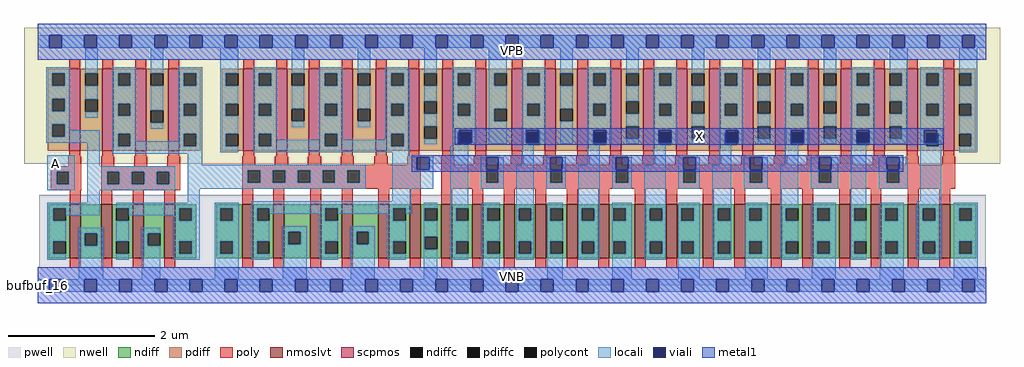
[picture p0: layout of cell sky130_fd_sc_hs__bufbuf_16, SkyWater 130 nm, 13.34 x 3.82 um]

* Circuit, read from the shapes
.subckt sky130_fd_sc_hs__bufbuf_16 A VGND VNB VPB VPWR X
XM1 VGND A n1 VNB sky130_fd_pr__nfet_01v8_lvt w=0.74 l=0.15
XM2 n2 n1 VGND VNB sky130_fd_pr__nfet_01v8_lvt w=0.74 l=0.15 m=3
XM3 n3 n2 VGND VNB sky130_fd_pr__nfet_01v8_lvt w=0.74 l=0.15 m=6
XM4 X n3 VGND VNB sky130_fd_pr__nfet_01v8_lvt w=0.74 l=0.15 m=16
XM5 VPWR A n1 VPB sky130_fd_pr__pfet_01v8 w=1.12 l=0.15
XM6 n2 n1 VPWR VPB sky130_fd_pr__pfet_01v8 w=1.12 l=0.15 m=3
XM7 n3 n2 VPWR VPB sky130_fd_pr__pfet_01v8 w=1.12 l=0.15 m=6
XM8 X n3 VPWR VPB sky130_fd_pr__pfet_01v8 w=1.12 l=0.15 m=16
.ends

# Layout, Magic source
magic
tech sky130A
magscale 1 2
<< nwell >>
rect -38 332 2630 704
<< pwell >>
rect 4 49 2591 248
rect 0 0 2592 49
<< scpmos >>
rect 86 368 116 592
rect 176 368 206 592
rect 266 368 296 592
rect 356 368 386 592
rect 561 368 591 592
rect 651 368 681 592
rect 741 368 771 592
rect 831 368 861 592
rect 923 368 953 592
rect 1013 368 1043 592
rect 1105 368 1135 592
rect 1195 368 1225 592
rect 1295 368 1325 592
rect 1385 368 1415 592
rect 1475 368 1505 592
rect 1565 368 1595 592
rect 1655 368 1685 592
rect 1745 368 1775 592
rect 1835 368 1865 592
rect 1925 368 1955 592
rect 2015 368 2045 592
rect 2105 368 2135 592
rect 2195 368 2225 592
rect 2285 368 2315 592
rect 2375 368 2405 592
rect 2475 368 2505 592
<< nmoslvt >>
rect 87 74 117 222
rect 173 74 203 222
rect 259 74 289 222
rect 346 74 376 222
rect 558 74 588 222
rect 644 74 674 222
rect 744 74 774 222
rect 830 74 860 222
rect 930 74 960 222
rect 1016 74 1046 222
rect 1102 74 1132 222
rect 1188 74 1218 222
rect 1274 74 1304 222
rect 1360 74 1390 222
rect 1446 74 1476 222
rect 1532 74 1562 222
rect 1632 74 1662 222
rect 1718 74 1748 222
rect 1818 74 1848 222
rect 1904 74 1934 222
rect 2004 74 2034 222
rect 2090 74 2120 222
rect 2190 74 2220 222
rect 2276 74 2306 222
rect 2378 74 2408 222
rect 2464 74 2494 222
<< ndiff >>
rect 30 210 87 222
rect 30 176 42 210
rect 76 176 87 210
rect 30 120 87 176
rect 30 86 42 120
rect 76 86 87 120
rect 30 74 87 86
rect 117 142 173 222
rect 117 108 128 142
rect 162 108 173 142
rect 117 74 173 108
rect 203 210 259 222
rect 203 176 214 210
rect 248 176 259 210
rect 203 120 259 176
rect 203 86 214 120
rect 248 86 259 120
rect 203 74 259 86
rect 289 142 346 222
rect 289 108 300 142
rect 334 108 346 142
rect 289 74 346 108
rect 376 210 433 222
rect 376 176 387 210
rect 421 176 433 210
rect 376 120 433 176
rect 376 86 387 120
rect 421 86 433 120
rect 376 74 433 86
rect 487 210 558 222
rect 487 176 499 210
rect 533 176 558 210
rect 487 120 558 176
rect 487 86 499 120
rect 533 86 558 120
rect 487 74 558 86
rect 588 210 644 222
rect 588 176 599 210
rect 633 176 644 210
rect 588 120 644 176
rect 588 86 599 120
rect 633 86 644 120
rect 588 74 644 86
rect 674 146 744 222
rect 674 112 685 146
rect 719 112 744 146
rect 674 74 744 112
rect 774 210 830 222
rect 774 176 785 210
rect 819 176 830 210
rect 774 120 830 176
rect 774 86 785 120
rect 819 86 830 120
rect 774 74 830 86
rect 860 146 930 222
rect 860 112 871 146
rect 905 112 930 146
rect 860 74 930 112
rect 960 210 1016 222
rect 960 176 971 210
rect 1005 176 1016 210
rect 960 120 1016 176
rect 960 86 971 120
rect 1005 86 1016 120
rect 960 74 1016 86
rect 1046 210 1102 222
rect 1046 176 1057 210
rect 1091 176 1102 210
rect 1046 133 1102 176
rect 1046 99 1057 133
rect 1091 99 1102 133
rect 1046 74 1102 99
rect 1132 210 1188 222
rect 1132 176 1143 210
rect 1177 176 1188 210
rect 1132 120 1188 176
rect 1132 86 1143 120
rect 1177 86 1188 120
rect 1132 74 1188 86
rect 1218 210 1274 222
rect 1218 176 1229 210
rect 1263 176 1274 210
rect 1218 120 1274 176
rect 1218 86 1229 120
rect 1263 86 1274 120
rect 1218 74 1274 86
rect 1304 210 1360 222
rect 1304 176 1315 210
rect 1349 176 1360 210
rect 1304 120 1360 176
rect 1304 86 1315 120
rect 1349 86 1360 120
rect 1304 74 1360 86
rect 1390 210 1446 222
rect 1390 176 1401 210
rect 1435 176 1446 210
rect 1390 120 1446 176
rect 1390 86 1401 120
rect 1435 86 1446 120
rect 1390 74 1446 86
rect 1476 210 1532 222
rect 1476 176 1487 210
rect 1521 176 1532 210
rect 1476 120 1532 176
rect 1476 86 1487 120
rect 1521 86 1532 120
rect 1476 74 1532 86
rect 1562 210 1632 222
rect 1562 176 1573 210
rect 1607 176 1632 210
rect 1562 120 1632 176
rect 1562 86 1573 120
rect 1607 86 1632 120
rect 1562 74 1632 86
rect 1662 210 1718 222
rect 1662 176 1673 210
rect 1707 176 1718 210
rect 1662 120 1718 176
rect 1662 86 1673 120
rect 1707 86 1718 120
rect 1662 74 1718 86
rect 1748 210 1818 222
rect 1748 176 1759 210
rect 1793 176 1818 210
rect 1748 120 1818 176
rect 1748 86 1759 120
rect 1793 86 1818 120
rect 1748 74 1818 86
rect 1848 210 1904 222
rect 1848 176 1859 210
rect 1893 176 1904 210
rect 1848 120 1904 176
rect 1848 86 1859 120
rect 1893 86 1904 120
rect 1848 74 1904 86
rect 1934 210 2004 222
rect 1934 176 1945 210
rect 1979 176 2004 210
rect 1934 120 2004 176
rect 1934 86 1945 120
rect 1979 86 2004 120
rect 1934 74 2004 86
rect 2034 210 2090 222
rect 2034 176 2045 210
rect 2079 176 2090 210
rect 2034 120 2090 176
rect 2034 86 2045 120
rect 2079 86 2090 120
rect 2034 74 2090 86
rect 2120 210 2190 222
rect 2120 176 2131 210
rect 2165 176 2190 210
rect 2120 120 2190 176
rect 2120 86 2131 120
rect 2165 86 2190 120
rect 2120 74 2190 86
rect 2220 210 2276 222
rect 2220 176 2231 210
rect 2265 176 2276 210
rect 2220 120 2276 176
rect 2220 86 2231 120
rect 2265 86 2276 120
rect 2220 74 2276 86
rect 2306 210 2378 222
rect 2306 176 2317 210
rect 2351 176 2378 210
rect 2306 120 2378 176
rect 2306 86 2317 120
rect 2351 86 2378 120
rect 2306 74 2378 86
rect 2408 210 2464 222
rect 2408 176 2419 210
rect 2453 176 2464 210
rect 2408 120 2464 176
rect 2408 86 2419 120
rect 2453 86 2464 120
rect 2408 74 2464 86
rect 2494 210 2565 222
rect 2494 176 2519 210
rect 2553 176 2565 210
rect 2494 120 2565 176
rect 2494 86 2519 120
rect 2553 86 2565 120
rect 2494 74 2565 86
<< pdiff >>
rect 27 580 86 592
rect 27 546 39 580
rect 73 546 86 580
rect 27 510 86 546
rect 27 476 39 510
rect 73 476 86 510
rect 27 440 86 476
rect 27 406 39 440
rect 73 406 86 440
rect 27 368 86 406
rect 116 580 176 592
rect 116 546 129 580
rect 163 546 176 580
rect 116 508 176 546
rect 116 474 129 508
rect 163 474 176 508
rect 116 368 176 474
rect 206 580 266 592
rect 206 546 219 580
rect 253 546 266 580
rect 206 497 266 546
rect 206 463 219 497
rect 253 463 266 497
rect 206 414 266 463
rect 206 380 219 414
rect 253 380 266 414
rect 206 368 266 380
rect 296 580 356 592
rect 296 546 309 580
rect 343 546 356 580
rect 296 478 356 546
rect 296 444 309 478
rect 343 444 356 478
rect 296 368 356 444
rect 386 580 445 592
rect 386 546 399 580
rect 433 546 445 580
rect 386 497 445 546
rect 386 463 399 497
rect 433 463 445 497
rect 386 414 445 463
rect 386 380 399 414
rect 433 380 445 414
rect 386 368 445 380
rect 502 580 561 592
rect 502 546 514 580
rect 548 546 561 580
rect 502 497 561 546
rect 502 463 514 497
rect 548 463 561 497
rect 502 414 561 463
rect 502 380 514 414
rect 548 380 561 414
rect 502 368 561 380
rect 591 580 651 592
rect 591 546 604 580
rect 638 546 651 580
rect 591 497 651 546
rect 591 463 604 497
rect 638 463 651 497
rect 591 414 651 463
rect 591 380 604 414
rect 638 380 651 414
rect 591 368 651 380
rect 681 580 741 592
rect 681 546 694 580
rect 728 546 741 580
rect 681 482 741 546
rect 681 448 694 482
rect 728 448 741 482
rect 681 368 741 448
rect 771 580 831 592
rect 771 546 784 580
rect 818 546 831 580
rect 771 497 831 546
rect 771 463 784 497
rect 818 463 831 497
rect 771 414 831 463
rect 771 380 784 414
rect 818 380 831 414
rect 771 368 831 380
rect 861 580 923 592
rect 861 546 874 580
rect 908 546 923 580
rect 861 482 923 546
rect 861 448 874 482
rect 908 448 923 482
rect 861 368 923 448
rect 953 580 1013 592
rect 953 546 966 580
rect 1000 546 1013 580
rect 953 497 1013 546
rect 953 463 966 497
rect 1000 463 1013 497
rect 953 414 1013 463
rect 953 380 966 414
rect 1000 380 1013 414
rect 953 368 1013 380
rect 1043 580 1105 592
rect 1043 546 1056 580
rect 1090 546 1105 580
rect 1043 503 1105 546
rect 1043 469 1056 503
rect 1090 469 1105 503
rect 1043 435 1105 469
rect 1043 401 1056 435
rect 1090 401 1105 435
rect 1043 368 1105 401
rect 1135 580 1195 592
rect 1135 546 1148 580
rect 1182 546 1195 580
rect 1135 497 1195 546
rect 1135 463 1148 497
rect 1182 463 1195 497
rect 1135 419 1195 463
rect 1135 385 1148 419
rect 1182 385 1195 419
rect 1135 368 1195 385
rect 1225 580 1295 592
rect 1225 546 1248 580
rect 1282 546 1295 580
rect 1225 482 1295 546
rect 1225 448 1248 482
rect 1282 448 1295 482
rect 1225 368 1295 448
rect 1325 580 1385 592
rect 1325 546 1338 580
rect 1372 546 1385 580
rect 1325 497 1385 546
rect 1325 463 1338 497
rect 1372 463 1385 497
rect 1325 418 1385 463
rect 1325 384 1338 418
rect 1372 384 1385 418
rect 1325 368 1385 384
rect 1415 580 1475 592
rect 1415 546 1428 580
rect 1462 546 1475 580
rect 1415 482 1475 546
rect 1415 448 1428 482
rect 1462 448 1475 482
rect 1415 368 1475 448
rect 1505 580 1565 592
rect 1505 546 1518 580
rect 1552 546 1565 580
rect 1505 497 1565 546
rect 1505 463 1518 497
rect 1552 463 1565 497
rect 1505 418 1565 463
rect 1505 384 1518 418
rect 1552 384 1565 418
rect 1505 368 1565 384
rect 1595 580 1655 592
rect 1595 546 1608 580
rect 1642 546 1655 580
rect 1595 503 1655 546
rect 1595 469 1608 503
rect 1642 469 1655 503
rect 1595 435 1655 469
rect 1595 401 1608 435
rect 1642 401 1655 435
rect 1595 368 1655 401
rect 1685 580 1745 592
rect 1685 546 1698 580
rect 1732 546 1745 580
rect 1685 497 1745 546
rect 1685 463 1698 497
rect 1732 463 1745 497
rect 1685 418 1745 463
rect 1685 384 1698 418
rect 1732 384 1745 418
rect 1685 368 1745 384
rect 1775 580 1835 592
rect 1775 546 1788 580
rect 1822 546 1835 580
rect 1775 503 1835 546
rect 1775 469 1788 503
rect 1822 469 1835 503
rect 1775 435 1835 469
rect 1775 401 1788 435
rect 1822 401 1835 435
rect 1775 368 1835 401
rect 1865 580 1925 592
rect 1865 546 1878 580
rect 1912 546 1925 580
rect 1865 497 1925 546
rect 1865 463 1878 497
rect 1912 463 1925 497
rect 1865 418 1925 463
rect 1865 384 1878 418
rect 1912 384 1925 418
rect 1865 368 1925 384
rect 1955 580 2015 592
rect 1955 546 1968 580
rect 2002 546 2015 580
rect 1955 503 2015 546
rect 1955 469 1968 503
rect 2002 469 2015 503
rect 1955 435 2015 469
rect 1955 401 1968 435
rect 2002 401 2015 435
rect 1955 368 2015 401
rect 2045 580 2105 592
rect 2045 546 2058 580
rect 2092 546 2105 580
rect 2045 497 2105 546
rect 2045 463 2058 497
rect 2092 463 2105 497
rect 2045 418 2105 463
rect 2045 384 2058 418
rect 2092 384 2105 418
rect 2045 368 2105 384
rect 2135 580 2195 592
rect 2135 546 2148 580
rect 2182 546 2195 580
rect 2135 503 2195 546
rect 2135 469 2148 503
rect 2182 469 2195 503
rect 2135 435 2195 469
rect 2135 401 2148 435
rect 2182 401 2195 435
rect 2135 368 2195 401
rect 2225 580 2285 592
rect 2225 546 2238 580
rect 2272 546 2285 580
rect 2225 497 2285 546
rect 2225 463 2238 497
rect 2272 463 2285 497
rect 2225 418 2285 463
rect 2225 384 2238 418
rect 2272 384 2285 418
rect 2225 368 2285 384
rect 2315 580 2375 592
rect 2315 546 2328 580
rect 2362 546 2375 580
rect 2315 503 2375 546
rect 2315 469 2328 503
rect 2362 469 2375 503
rect 2315 435 2375 469
rect 2315 401 2328 435
rect 2362 401 2375 435
rect 2315 368 2375 401
rect 2405 580 2475 592
rect 2405 546 2428 580
rect 2462 546 2475 580
rect 2405 497 2475 546
rect 2405 463 2428 497
rect 2462 463 2475 497
rect 2405 414 2475 463
rect 2405 380 2428 414
rect 2462 380 2475 414
rect 2405 368 2475 380
rect 2505 580 2564 592
rect 2505 546 2518 580
rect 2552 546 2564 580
rect 2505 497 2564 546
rect 2505 463 2518 497
rect 2552 463 2564 497
rect 2505 414 2564 463
rect 2505 380 2518 414
rect 2552 380 2564 414
rect 2505 368 2564 380
<< ndiffc >>
rect 42 176 76 210
rect 42 86 76 120
rect 128 108 162 142
rect 214 176 248 210
rect 214 86 248 120
rect 300 108 334 142
rect 387 176 421 210
rect 387 86 421 120
rect 499 176 533 210
rect 499 86 533 120
rect 599 176 633 210
rect 599 86 633 120
rect 685 112 719 146
rect 785 176 819 210
rect 785 86 819 120
rect 871 112 905 146
rect 971 176 1005 210
rect 971 86 1005 120
rect 1057 176 1091 210
rect 1057 99 1091 133
rect 1143 176 1177 210
rect 1143 86 1177 120
rect 1229 176 1263 210
rect 1229 86 1263 120
rect 1315 176 1349 210
rect 1315 86 1349 120
rect 1401 176 1435 210
rect 1401 86 1435 120
rect 1487 176 1521 210
rect 1487 86 1521 120
rect 1573 176 1607 210
rect 1573 86 1607 120
rect 1673 176 1707 210
rect 1673 86 1707 120
rect 1759 176 1793 210
rect 1759 86 1793 120
rect 1859 176 1893 210
rect 1859 86 1893 120
rect 1945 176 1979 210
rect 1945 86 1979 120
rect 2045 176 2079 210
rect 2045 86 2079 120
rect 2131 176 2165 210
rect 2131 86 2165 120
rect 2231 176 2265 210
rect 2231 86 2265 120
rect 2317 176 2351 210
rect 2317 86 2351 120
rect 2419 176 2453 210
rect 2419 86 2453 120
rect 2519 176 2553 210
rect 2519 86 2553 120
<< pdiffc >>
rect 39 546 73 580
rect 39 476 73 510
rect 39 406 73 440
rect 129 546 163 580
rect 129 474 163 508
rect 219 546 253 580
rect 219 463 253 497
rect 219 380 253 414
rect 309 546 343 580
rect 309 444 343 478
rect 399 546 433 580
rect 399 463 433 497
rect 399 380 433 414
rect 514 546 548 580
rect 514 463 548 497
rect 514 380 548 414
rect 604 546 638 580
rect 604 463 638 497
rect 604 380 638 414
rect 694 546 728 580
rect 694 448 728 482
rect 784 546 818 580
rect 784 463 818 497
rect 784 380 818 414
rect 874 546 908 580
rect 874 448 908 482
rect 966 546 1000 580
rect 966 463 1000 497
rect 966 380 1000 414
rect 1056 546 1090 580
rect 1056 469 1090 503
rect 1056 401 1090 435
rect 1148 546 1182 580
rect 1148 463 1182 497
rect 1148 385 1182 419
rect 1248 546 1282 580
rect 1248 448 1282 482
rect 1338 546 1372 580
rect 1338 463 1372 497
rect 1338 384 1372 418
rect 1428 546 1462 580
rect 1428 448 1462 482
rect 1518 546 1552 580
rect 1518 463 1552 497
rect 1518 384 1552 418
rect 1608 546 1642 580
rect 1608 469 1642 503
rect 1608 401 1642 435
rect 1698 546 1732 580
rect 1698 463 1732 497
rect 1698 384 1732 418
rect 1788 546 1822 580
rect 1788 469 1822 503
rect 1788 401 1822 435
rect 1878 546 1912 580
rect 1878 463 1912 497
rect 1878 384 1912 418
rect 1968 546 2002 580
rect 1968 469 2002 503
rect 1968 401 2002 435
rect 2058 546 2092 580
rect 2058 463 2092 497
rect 2058 384 2092 418
rect 2148 546 2182 580
rect 2148 469 2182 503
rect 2148 401 2182 435
rect 2238 546 2272 580
rect 2238 463 2272 497
rect 2238 384 2272 418
rect 2328 546 2362 580
rect 2328 469 2362 503
rect 2328 401 2362 435
rect 2428 546 2462 580
rect 2428 463 2462 497
rect 2428 380 2462 414
rect 2518 546 2552 580
rect 2518 463 2552 497
rect 2518 380 2552 414
<< poly >>
rect 86 592 116 618
rect 176 592 206 618
rect 266 592 296 618
rect 356 592 386 618
rect 561 592 591 618
rect 651 592 681 618
rect 741 592 771 618
rect 831 592 861 618
rect 923 592 953 618
rect 1013 592 1043 618
rect 1105 592 1135 618
rect 1195 592 1225 618
rect 1295 592 1325 618
rect 1385 592 1415 618
rect 1475 592 1505 618
rect 1565 592 1595 618
rect 1655 592 1685 618
rect 1745 592 1775 618
rect 1835 592 1865 618
rect 1925 592 1955 618
rect 2015 592 2045 618
rect 2105 592 2135 618
rect 2195 592 2225 618
rect 2285 592 2315 618
rect 2375 592 2405 618
rect 2475 592 2505 618
rect 86 353 116 368
rect 176 353 206 368
rect 266 353 296 368
rect 356 353 386 368
rect 561 353 591 368
rect 651 353 681 368
rect 741 353 771 368
rect 831 353 861 368
rect 923 353 953 368
rect 1013 353 1043 368
rect 1105 353 1135 368
rect 1195 353 1225 368
rect 1295 353 1325 368
rect 1385 353 1415 368
rect 1475 353 1505 368
rect 1565 353 1595 368
rect 1655 353 1685 368
rect 1745 353 1775 368
rect 1835 353 1865 368
rect 1925 353 1955 368
rect 2015 353 2045 368
rect 2105 353 2135 368
rect 2195 353 2225 368
rect 2285 353 2315 368
rect 2375 353 2405 368
rect 2475 353 2505 368
rect 83 326 119 353
rect 35 310 119 326
rect 35 276 51 310
rect 85 276 119 310
rect 35 260 119 276
rect 173 326 209 353
rect 263 326 299 353
rect 353 326 389 353
rect 173 310 389 326
rect 173 276 189 310
rect 223 276 257 310
rect 291 276 325 310
rect 359 276 389 310
rect 173 260 389 276
rect 558 330 594 353
rect 648 330 684 353
rect 738 330 774 353
rect 828 330 864 353
rect 920 330 956 353
rect 1010 330 1046 353
rect 558 314 1046 330
rect 558 280 574 314
rect 608 280 642 314
rect 676 280 710 314
rect 744 280 778 314
rect 812 280 846 314
rect 880 280 1046 314
rect 558 264 1046 280
rect 87 222 117 260
rect 173 222 203 260
rect 259 222 289 260
rect 346 222 376 260
rect 558 222 588 264
rect 644 222 674 264
rect 744 222 774 264
rect 830 222 860 264
rect 930 222 960 264
rect 1016 222 1046 264
rect 1102 330 1138 353
rect 1192 330 1228 353
rect 1292 330 1328 353
rect 1382 330 1418 353
rect 1472 330 1508 353
rect 1562 330 1598 353
rect 1652 330 1688 353
rect 1742 330 1778 353
rect 1832 330 1868 353
rect 1922 330 1958 353
rect 2012 330 2048 353
rect 2102 330 2138 353
rect 2192 330 2228 353
rect 2282 330 2318 353
rect 2372 330 2408 353
rect 2472 330 2508 353
rect 1102 314 2508 330
rect 1102 280 1225 314
rect 1259 280 1400 314
rect 1434 280 1580 314
rect 1614 280 1764 314
rect 1798 280 1946 314
rect 1980 280 2135 314
rect 2169 280 2320 314
rect 2354 280 2508 314
rect 1102 264 2508 280
rect 1102 222 1132 264
rect 1188 222 1218 264
rect 1274 222 1304 264
rect 1360 222 1390 264
rect 1446 222 1476 264
rect 1532 222 1562 264
rect 1632 222 1662 264
rect 1718 222 1748 264
rect 1818 222 1848 264
rect 1904 222 1934 264
rect 2004 222 2034 264
rect 2090 222 2120 264
rect 2190 222 2220 264
rect 2276 222 2306 264
rect 2378 222 2408 264
rect 2464 222 2494 264
rect 87 48 117 74
rect 173 48 203 74
rect 259 48 289 74
rect 346 48 376 74
rect 558 48 588 74
rect 644 48 674 74
rect 744 48 774 74
rect 830 48 860 74
rect 930 48 960 74
rect 1016 48 1046 74
rect 1102 48 1132 74
rect 1188 48 1218 74
rect 1274 48 1304 74
rect 1360 48 1390 74
rect 1446 48 1476 74
rect 1532 48 1562 74
rect 1632 48 1662 74
rect 1718 48 1748 74
rect 1818 48 1848 74
rect 1904 48 1934 74
rect 2004 48 2034 74
rect 2090 48 2120 74
rect 2190 48 2220 74
rect 2276 48 2306 74
rect 2378 48 2408 74
rect 2464 48 2494 74
<< polycont >>
rect 51 276 85 310
rect 189 276 223 310
rect 257 276 291 310
rect 325 276 359 310
rect 574 280 608 314
rect 642 280 676 314
rect 710 280 744 314
rect 778 280 812 314
rect 846 280 880 314
rect 1225 280 1259 314
rect 1400 280 1434 314
rect 1580 280 1614 314
rect 1764 280 1798 314
rect 1946 280 1980 314
rect 2135 280 2169 314
rect 2320 280 2354 314
<< locali >>
rect 0 649 31 683
rect 65 649 127 683
rect 161 649 223 683
rect 257 649 319 683
rect 353 649 415 683
rect 449 649 511 683
rect 545 649 607 683
rect 641 649 703 683
rect 737 649 799 683
rect 833 649 895 683
rect 929 649 991 683
rect 1025 649 1087 683
rect 1121 649 1183 683
rect 1217 649 1279 683
rect 1313 649 1375 683
rect 1409 649 1471 683
rect 1505 649 1567 683
rect 1601 649 1663 683
rect 1697 649 1759 683
rect 1793 649 1855 683
rect 1889 649 1951 683
rect 1985 649 2047 683
rect 2081 649 2143 683
rect 2177 649 2239 683
rect 2273 649 2335 683
rect 2369 649 2431 683
rect 2465 649 2527 683
rect 2561 649 2592 683
rect 23 580 89 596
rect 23 546 39 580
rect 73 546 89 580
rect 23 510 89 546
rect 23 476 39 510
rect 73 476 89 510
rect 23 440 89 476
rect 129 580 163 649
rect 129 508 163 546
rect 129 458 163 474
rect 203 580 269 596
rect 203 546 219 580
rect 253 546 269 580
rect 203 497 269 546
rect 203 463 219 497
rect 253 463 269 497
rect 23 406 39 440
rect 73 424 89 440
rect 73 406 169 424
rect 23 390 169 406
rect 25 310 101 356
rect 25 276 51 310
rect 85 276 101 310
rect 25 260 101 276
rect 135 326 169 390
rect 203 414 269 463
rect 309 580 343 649
rect 309 478 343 546
rect 309 428 343 444
rect 383 580 449 596
rect 383 546 399 580
rect 433 546 449 580
rect 383 497 449 546
rect 383 463 399 497
rect 433 463 449 497
rect 203 380 219 414
rect 253 394 269 414
rect 383 414 449 463
rect 383 394 399 414
rect 253 380 399 394
rect 433 380 449 414
rect 203 360 449 380
rect 498 580 548 649
rect 498 546 514 580
rect 498 497 548 546
rect 498 463 514 497
rect 498 414 548 463
rect 498 380 514 414
rect 498 364 548 380
rect 588 580 654 596
rect 588 546 604 580
rect 638 546 654 580
rect 588 497 654 546
rect 588 463 604 497
rect 638 463 654 497
rect 588 414 654 463
rect 694 580 728 649
rect 694 482 728 546
rect 694 432 728 448
rect 768 580 834 596
rect 768 546 784 580
rect 818 546 834 580
rect 768 497 834 546
rect 768 463 784 497
rect 818 463 834 497
rect 588 380 604 414
rect 638 398 654 414
rect 768 414 834 463
rect 874 580 908 649
rect 874 482 908 546
rect 874 432 908 448
rect 950 580 1016 596
rect 950 546 966 580
rect 1000 546 1016 580
rect 950 497 1016 546
rect 950 463 966 497
rect 1000 463 1016 497
rect 768 398 784 414
rect 638 380 784 398
rect 818 398 834 414
rect 950 414 1016 463
rect 950 398 966 414
rect 818 380 966 398
rect 1000 380 1016 414
rect 1056 580 1090 649
rect 1056 503 1090 546
rect 1056 435 1090 469
rect 1056 385 1090 401
rect 1132 580 1198 596
rect 1132 546 1148 580
rect 1182 546 1198 580
rect 1132 497 1198 546
rect 1132 463 1148 497
rect 1182 463 1198 497
rect 1132 424 1198 463
rect 1132 419 1152 424
rect 1132 385 1148 419
rect 1186 390 1198 424
rect 1182 385 1198 390
rect 1232 580 1282 649
rect 1232 546 1248 580
rect 1232 482 1282 546
rect 1232 448 1248 482
rect 1232 385 1282 448
rect 1322 580 1388 596
rect 1322 546 1338 580
rect 1372 546 1388 580
rect 1322 497 1388 546
rect 1322 463 1338 497
rect 1372 463 1388 497
rect 1322 424 1388 463
rect 1322 390 1335 424
rect 1369 418 1388 424
rect 1132 384 1198 385
rect 1322 384 1338 390
rect 1372 384 1388 418
rect 1428 580 1462 649
rect 1428 482 1462 546
rect 1428 385 1462 448
rect 1502 580 1568 596
rect 1502 546 1518 580
rect 1552 546 1568 580
rect 1502 497 1568 546
rect 1502 463 1518 497
rect 1552 463 1568 497
rect 1502 424 1568 463
rect 1502 418 1519 424
rect 1502 384 1518 418
rect 1553 390 1568 424
rect 1552 384 1568 390
rect 1608 580 1642 649
rect 1608 503 1642 546
rect 1608 435 1642 469
rect 1608 385 1642 401
rect 1682 580 1748 596
rect 1682 546 1698 580
rect 1732 546 1748 580
rect 1682 497 1748 546
rect 1682 463 1698 497
rect 1732 463 1748 497
rect 1682 424 1748 463
rect 1682 390 1697 424
rect 1731 418 1748 424
rect 1682 384 1698 390
rect 1732 384 1748 418
rect 1788 580 1822 649
rect 1788 503 1822 546
rect 1788 435 1822 469
rect 1788 385 1822 401
rect 1862 580 1928 596
rect 1862 546 1878 580
rect 1912 546 1928 580
rect 1862 497 1928 546
rect 1862 463 1878 497
rect 1912 463 1928 497
rect 1862 424 1928 463
rect 1862 418 1881 424
rect 1862 384 1878 418
rect 1915 390 1928 424
rect 1912 384 1928 390
rect 1968 580 2002 649
rect 1968 503 2002 546
rect 1968 435 2002 469
rect 1968 385 2002 401
rect 2042 580 2108 596
rect 2042 546 2058 580
rect 2092 546 2108 580
rect 2042 497 2108 546
rect 2042 463 2058 497
rect 2092 463 2108 497
rect 2042 424 2108 463
rect 2042 418 2059 424
rect 2042 384 2058 418
rect 2093 390 2108 424
rect 2092 384 2108 390
rect 2148 580 2182 649
rect 2148 503 2182 546
rect 2148 435 2182 469
rect 2148 385 2182 401
rect 2222 580 2288 596
rect 2222 546 2238 580
rect 2272 546 2288 580
rect 2222 497 2288 546
rect 2222 463 2238 497
rect 2272 463 2288 497
rect 2222 424 2288 463
rect 2222 418 2239 424
rect 2222 384 2238 418
rect 2273 390 2288 424
rect 2272 384 2288 390
rect 2328 580 2378 649
rect 2362 546 2378 580
rect 2328 503 2378 546
rect 2362 469 2378 503
rect 2328 435 2378 469
rect 2362 401 2378 435
rect 2328 385 2378 401
rect 2412 580 2478 596
rect 2412 546 2428 580
rect 2462 546 2478 580
rect 2412 497 2478 546
rect 2412 463 2428 497
rect 2462 463 2478 497
rect 2412 424 2478 463
rect 2412 390 2423 424
rect 2457 414 2478 424
rect 2462 404 2478 414
rect 2518 580 2568 649
rect 2552 546 2568 580
rect 2518 497 2568 546
rect 2552 463 2568 497
rect 2518 414 2568 463
rect 1132 380 1177 384
rect 588 364 1016 380
rect 409 330 449 360
rect 969 351 1016 364
rect 969 350 1081 351
rect 135 310 375 326
rect 135 276 189 310
rect 223 276 257 310
rect 291 276 325 310
rect 359 276 375 310
rect 135 260 375 276
rect 409 314 896 330
rect 409 280 574 314
rect 608 280 642 314
rect 676 280 710 314
rect 744 280 778 314
rect 812 280 846 314
rect 880 280 896 314
rect 409 264 896 280
rect 969 316 1036 350
rect 1070 316 1081 350
rect 969 264 1081 316
rect 135 226 169 260
rect 409 226 443 264
rect 969 230 1021 264
rect 26 210 169 226
rect 26 176 42 210
rect 76 192 169 210
rect 214 210 443 226
rect 26 120 76 176
rect 248 192 387 210
rect 26 86 42 120
rect 26 70 76 86
rect 112 142 178 158
rect 112 108 128 142
rect 162 108 178 142
rect 112 17 178 108
rect 214 120 248 176
rect 371 176 387 192
rect 421 176 443 210
rect 214 70 248 86
rect 284 142 334 158
rect 284 108 300 142
rect 284 17 334 108
rect 371 120 443 176
rect 371 86 387 120
rect 421 86 443 120
rect 371 70 443 86
rect 483 210 549 226
rect 483 176 499 210
rect 533 176 549 210
rect 483 120 549 176
rect 483 86 499 120
rect 533 86 549 120
rect 483 17 549 86
rect 583 210 1021 230
rect 583 176 599 210
rect 633 196 785 210
rect 583 120 633 176
rect 769 176 785 196
rect 819 196 971 210
rect 583 86 599 120
rect 583 70 633 86
rect 669 146 735 162
rect 669 112 685 146
rect 719 112 735 146
rect 669 17 735 112
rect 769 120 819 176
rect 955 176 971 196
rect 1005 196 1021 210
rect 1055 210 1091 226
rect 769 86 785 120
rect 769 70 819 86
rect 855 146 921 162
rect 855 112 871 146
rect 905 112 921 146
rect 855 17 921 112
rect 955 120 1005 176
rect 955 86 971 120
rect 955 70 1005 86
rect 1055 176 1057 210
rect 1055 133 1091 176
rect 1055 99 1057 133
rect 1055 17 1091 99
rect 1127 210 1177 380
rect 1211 316 1225 350
rect 1259 316 1273 350
rect 1322 330 1356 384
rect 1211 314 1273 316
rect 1211 280 1225 314
rect 1259 280 1273 314
rect 1211 264 1273 280
rect 1127 176 1143 210
rect 1127 120 1177 176
rect 1127 86 1143 120
rect 1127 70 1177 86
rect 1213 210 1263 226
rect 1213 176 1229 210
rect 1213 120 1263 176
rect 1213 86 1229 120
rect 1213 17 1263 86
rect 1307 210 1356 330
rect 1390 316 1400 350
rect 1434 316 1443 350
rect 1502 330 1536 384
rect 1390 314 1443 316
rect 1390 280 1400 314
rect 1434 280 1443 314
rect 1390 264 1443 280
rect 1307 176 1315 210
rect 1349 176 1356 210
rect 1307 120 1356 176
rect 1307 86 1315 120
rect 1349 86 1356 120
rect 1307 70 1356 86
rect 1392 210 1435 226
rect 1392 176 1401 210
rect 1392 120 1435 176
rect 1392 86 1401 120
rect 1392 17 1435 86
rect 1477 210 1536 330
rect 1570 316 1580 350
rect 1614 316 1623 350
rect 1682 330 1716 384
rect 1570 314 1623 316
rect 1570 280 1580 314
rect 1614 280 1623 314
rect 1570 264 1623 280
rect 1477 176 1487 210
rect 1521 176 1536 210
rect 1477 120 1536 176
rect 1477 86 1487 120
rect 1521 86 1536 120
rect 1477 70 1536 86
rect 1570 210 1623 226
rect 1570 176 1573 210
rect 1607 176 1623 210
rect 1570 120 1623 176
rect 1570 86 1573 120
rect 1607 86 1623 120
rect 1570 17 1623 86
rect 1657 210 1716 330
rect 1750 316 1764 350
rect 1798 316 1809 350
rect 1862 330 1896 384
rect 1750 314 1809 316
rect 1750 280 1764 314
rect 1798 280 1809 314
rect 1750 264 1809 280
rect 1657 176 1673 210
rect 1707 176 1716 210
rect 1657 120 1716 176
rect 1657 86 1673 120
rect 1707 86 1716 120
rect 1657 70 1716 86
rect 1750 210 1809 226
rect 1750 176 1759 210
rect 1793 176 1809 210
rect 1750 120 1809 176
rect 1750 86 1759 120
rect 1793 86 1809 120
rect 1750 17 1809 86
rect 1843 210 1896 330
rect 1930 316 1946 350
rect 1980 316 1995 350
rect 2042 330 2079 384
rect 1930 314 1995 316
rect 1930 280 1946 314
rect 1980 280 1995 314
rect 1930 264 1995 280
rect 1843 176 1859 210
rect 1893 176 1896 210
rect 1843 120 1896 176
rect 1843 86 1859 120
rect 1893 86 1896 120
rect 1843 70 1896 86
rect 1933 210 1995 226
rect 1933 176 1945 210
rect 1979 176 1995 210
rect 1933 120 1995 176
rect 1933 86 1945 120
rect 1979 86 1995 120
rect 1933 17 1995 86
rect 2029 210 2079 330
rect 2113 316 2135 350
rect 2169 316 2188 350
rect 2113 314 2188 316
rect 2113 280 2135 314
rect 2169 280 2188 314
rect 2113 264 2188 280
rect 2029 176 2045 210
rect 2029 120 2079 176
rect 2029 86 2045 120
rect 2029 70 2079 86
rect 2115 210 2181 226
rect 2115 176 2131 210
rect 2165 176 2181 210
rect 2115 120 2181 176
rect 2115 86 2131 120
rect 2165 86 2181 120
rect 2115 17 2181 86
rect 2222 210 2265 384
rect 2412 380 2428 390
rect 2462 380 2469 404
rect 2299 316 2320 350
rect 2354 316 2378 350
rect 2299 314 2378 316
rect 2299 280 2320 314
rect 2354 280 2378 314
rect 2299 264 2378 280
rect 2412 230 2469 380
rect 2552 380 2568 414
rect 2518 364 2568 380
rect 2222 176 2231 210
rect 2222 120 2265 176
rect 2222 86 2231 120
rect 2222 70 2265 86
rect 2301 210 2367 226
rect 2301 176 2317 210
rect 2351 176 2367 210
rect 2301 120 2367 176
rect 2301 86 2317 120
rect 2351 86 2367 120
rect 2301 17 2367 86
rect 2403 210 2469 230
rect 2403 176 2419 210
rect 2453 176 2469 210
rect 2403 120 2469 176
rect 2403 86 2419 120
rect 2453 86 2469 120
rect 2403 70 2469 86
rect 2503 210 2569 226
rect 2503 176 2519 210
rect 2553 176 2569 210
rect 2503 120 2569 176
rect 2503 86 2519 120
rect 2553 86 2569 120
rect 2503 17 2569 86
rect 0 -17 31 17
rect 65 -17 127 17
rect 161 -17 223 17
rect 257 -17 319 17
rect 353 -17 415 17
rect 449 -17 511 17
rect 545 -17 607 17
rect 641 -17 703 17
rect 737 -17 799 17
rect 833 -17 895 17
rect 929 -17 991 17
rect 1025 -17 1087 17
rect 1121 -17 1183 17
rect 1217 -17 1279 17
rect 1313 -17 1375 17
rect 1409 -17 1471 17
rect 1505 -17 1567 17
rect 1601 -17 1663 17
rect 1697 -17 1759 17
rect 1793 -17 1855 17
rect 1889 -17 1951 17
rect 1985 -17 2047 17
rect 2081 -17 2143 17
rect 2177 -17 2239 17
rect 2273 -17 2335 17
rect 2369 -17 2431 17
rect 2465 -17 2527 17
rect 2561 -17 2592 17
<< viali >>
rect 31 649 65 683
rect 127 649 161 683
rect 223 649 257 683
rect 319 649 353 683
rect 415 649 449 683
rect 511 649 545 683
rect 607 649 641 683
rect 703 649 737 683
rect 799 649 833 683
rect 895 649 929 683
rect 991 649 1025 683
rect 1087 649 1121 683
rect 1183 649 1217 683
rect 1279 649 1313 683
rect 1375 649 1409 683
rect 1471 649 1505 683
rect 1567 649 1601 683
rect 1663 649 1697 683
rect 1759 649 1793 683
rect 1855 649 1889 683
rect 1951 649 1985 683
rect 2047 649 2081 683
rect 2143 649 2177 683
rect 2239 649 2273 683
rect 2335 649 2369 683
rect 2431 649 2465 683
rect 2527 649 2561 683
rect 1152 419 1186 424
rect 1152 390 1182 419
rect 1182 390 1186 419
rect 1335 418 1369 424
rect 1335 390 1338 418
rect 1338 390 1369 418
rect 1519 418 1553 424
rect 1519 390 1552 418
rect 1552 390 1553 418
rect 1697 418 1731 424
rect 1697 390 1698 418
rect 1698 390 1731 418
rect 1881 418 1915 424
rect 1881 390 1912 418
rect 1912 390 1915 418
rect 2059 418 2093 424
rect 2059 390 2092 418
rect 2092 390 2093 418
rect 2239 418 2273 424
rect 2239 390 2272 418
rect 2272 390 2273 418
rect 2423 414 2457 424
rect 2423 390 2428 414
rect 2428 390 2457 414
rect 1036 316 1070 350
rect 1225 316 1259 350
rect 1400 316 1434 350
rect 1580 316 1614 350
rect 1764 316 1798 350
rect 1946 316 1980 350
rect 2135 316 2169 350
rect 2320 316 2354 350
rect 31 -17 65 17
rect 127 -17 161 17
rect 223 -17 257 17
rect 319 -17 353 17
rect 415 -17 449 17
rect 511 -17 545 17
rect 607 -17 641 17
rect 703 -17 737 17
rect 799 -17 833 17
rect 895 -17 929 17
rect 991 -17 1025 17
rect 1087 -17 1121 17
rect 1183 -17 1217 17
rect 1279 -17 1313 17
rect 1375 -17 1409 17
rect 1471 -17 1505 17
rect 1567 -17 1601 17
rect 1663 -17 1697 17
rect 1759 -17 1793 17
rect 1855 -17 1889 17
rect 1951 -17 1985 17
rect 2047 -17 2081 17
rect 2143 -17 2177 17
rect 2239 -17 2273 17
rect 2335 -17 2369 17
rect 2431 -17 2465 17
rect 2527 -17 2561 17
<< metal1 >>
rect 0 683 2592 715
rect 0 649 31 683
rect 65 649 127 683
rect 161 649 223 683
rect 257 649 319 683
rect 353 649 415 683
rect 449 649 511 683
rect 545 649 607 683
rect 641 649 703 683
rect 737 649 799 683
rect 833 649 895 683
rect 929 649 991 683
rect 1025 649 1087 683
rect 1121 649 1183 683
rect 1217 649 1279 683
rect 1313 649 1375 683
rect 1409 649 1471 683
rect 1505 649 1567 683
rect 1601 649 1663 683
rect 1697 649 1759 683
rect 1793 649 1855 683
rect 1889 649 1951 683
rect 1985 649 2047 683
rect 2081 649 2143 683
rect 2177 649 2239 683
rect 2273 649 2335 683
rect 2369 649 2431 683
rect 2465 649 2527 683
rect 2561 649 2592 683
rect 0 617 2592 649
rect 1140 424 2476 430
rect 1140 390 1152 424
rect 1186 390 1335 424
rect 1369 390 1519 424
rect 1553 390 1697 424
rect 1731 390 1881 424
rect 1915 390 2059 424
rect 2093 390 2239 424
rect 2273 390 2423 424
rect 2457 390 2476 424
rect 1140 384 2476 390
rect 1022 350 2366 356
rect 1022 316 1036 350
rect 1070 316 1225 350
rect 1259 316 1400 350
rect 1434 316 1580 350
rect 1614 316 1764 350
rect 1798 316 1946 350
rect 1980 316 2135 350
rect 2169 316 2320 350
rect 2354 316 2366 350
rect 1022 310 2366 316
rect 0 17 2592 49
rect 0 -17 31 17
rect 65 -17 127 17
rect 161 -17 223 17
rect 257 -17 319 17
rect 353 -17 415 17
rect 449 -17 511 17
rect 545 -17 607 17
rect 641 -17 703 17
rect 737 -17 799 17
rect 833 -17 895 17
rect 929 -17 991 17
rect 1025 -17 1087 17
rect 1121 -17 1183 17
rect 1217 -17 1279 17
rect 1313 -17 1375 17
rect 1409 -17 1471 17
rect 1505 -17 1567 17
rect 1601 -17 1663 17
rect 1697 -17 1759 17
rect 1793 -17 1855 17
rect 1889 -17 1951 17
rect 1985 -17 2047 17
rect 2081 -17 2143 17
rect 2177 -17 2239 17
rect 2273 -17 2335 17
rect 2369 -17 2431 17
rect 2465 -17 2527 17
rect 2561 -17 2592 17
rect 0 -49 2592 -17
<< labels >>
rlabel comment s 0 0 0 0 4 bufbuf_16
flabel pwell s 0 0 2592 49 0 FreeSans 200 0 0 0 VNB
port 3 nsew ground bidirectional
flabel nwell s 0 617 2592 666 0 FreeSans 200 0 0 0 VPB
port 4 nsew power bidirectional
flabel metal1 s 1140 384 2476 430 0 FreeSans 400 0 0 0 X
port 6 nsew signal output
flabel metal1 s 0 617 2592 666 0 FreeSans 340 0 0 0 VPWR
port 5 nsew power bidirectional
flabel metal1 s 0 0 2592 49 0 FreeSans 340 0 0 0 VGND
port 2 nsew ground bidirectional
flabel locali s 31 316 65 350 0 FreeSans 340 0 0 0 A
port 1 nsew signal input
<< properties >>
string LEFsite unit
string LEFclass CORE
string FIXED_BBOX 0 0 2592 666
string GDS_FILE $PDKPATH/libs.ref/sky130_fd_sc_hs/gds/sky130_fd_sc_hs.gds
string LEFsymmetry X Y
string GDS_END 3857458
string GDS_START 3836278
<< end >>
